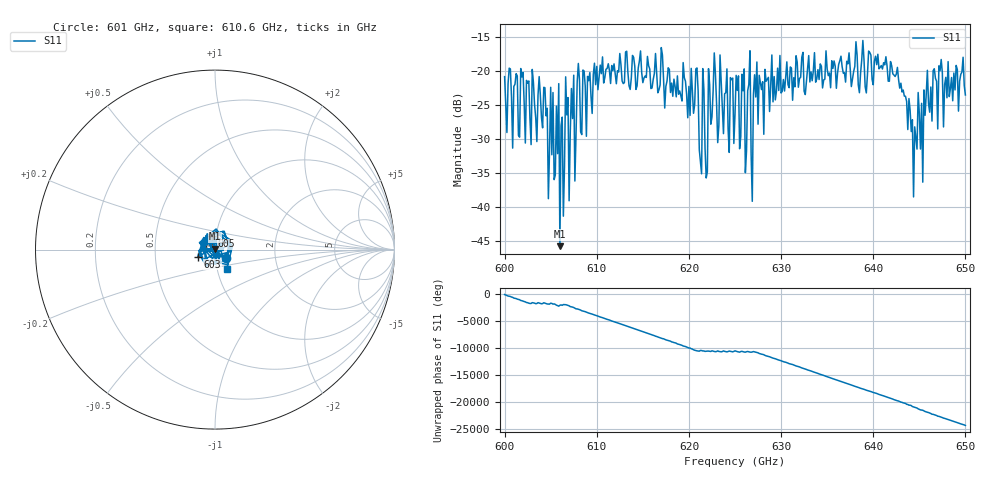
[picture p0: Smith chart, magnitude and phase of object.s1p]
!Created with skrf (http://scikit-rf.org).
# GHz S MA R 50.0
!freq magS11 angS11
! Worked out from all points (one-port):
!   401 points, 600 GHz to 650 GHz, reference 50 ohm
!   lowest |S11| = -45.7 dB at 606 GHz (marker M1), VSWR 1.01, Z = 50.1 + j0.509 ohm
!   |S11| at or under -10 dB: start of sweep to end of sweep
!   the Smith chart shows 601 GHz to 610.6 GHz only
!   S11 on the Smith chart (normalised r, x): 601 GHz: 1.13, -0.11; 603 GHz: 0.82, -0.06; 605 GHz: 0.95, +0.14; 610.6 GHz: 1.11, -0.25
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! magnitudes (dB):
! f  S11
! 600 GHz  -20.8
! 601 GHz  -22.2
! 603 GHz  -19.7
! 604.4 GHz  -22.4
! 605 GHz  -22.3
! 606 GHz  -45.7
! 606.2 GHz  -26.7
! 606.4 GHz  -41.3
! 606.9 GHz  -23.9
! 610.6 GHz  -17.9
! 612.5 GHz  -17.4
! 618.8 GHz  -20.7
! 620.8 GHz  -19.6
! 621.1 GHz  -31.5
! 621.6 GHz  -22.6
! 622.8 GHz  -17.3
! 625 GHz  -26.4
! 627 GHz  -23.4
! 627.4 GHz  -18.6
! 631.2 GHz  -24.3
! 637.5 GHz  -19.6
! 641.2 GHz  -19.0
! 643.8 GHz  -28.6
! 644.5 GHz  -28.2
! 644.8 GHz  -31.4
! 645.4 GHz  -36.3
! 646.5 GHz  -19.9
! 650 GHz  -23.5
